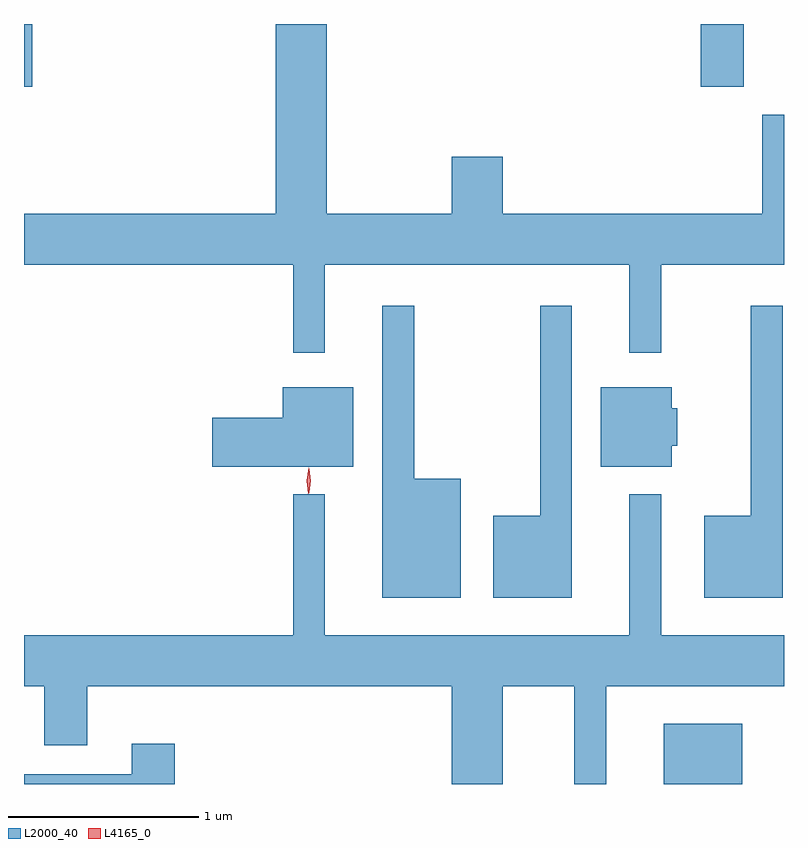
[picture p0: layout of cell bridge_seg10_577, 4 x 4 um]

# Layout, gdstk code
import gdstk
lib = gdstk.Library(unit=1e-6, precision=1e-09)
def R(c, l, rs):  # rectangles x0, y0, x1, y1
    for r in rs: c.add(gdstk.rectangle(r[:2], r[2:], *l))
def P(c, l, *ps):  # polygons
    for p in ps: c.add(gdstk.Polygon(p, *l))
L2000_40 = (2000, 40)
L4165_0 = (4165, 0)

bridge_seg10_577 = lib.new_cell('bridge_seg10_577')
R(bridge_seg10_577, L2000_40, [(775.631,2100.082,776.044,2100.399), (772.265,2103.751,772.309,2104.082), (775.826,2103.751,776.054,2104.082)])
P(bridge_seg10_577, L2000_40, [(773.849,2102.816),(775.451,2102.816),(775.451,2102.353),(775.619,2102.353),(775.619,2102.816),(776.265,2102.816),(776.265,2103.604),(776.151,2103.604),(776.151,2103.084),(774.784,2103.084),(774.784,2103.384),(774.516,2103.384),(774.516,2103.084),(773.859,2103.084),(773.859,2104.082),(773.591,2104.082),(773.591,2103.084),(772.265,2103.084),(772.265,2102.816),(773.681,2102.816),(773.681,2102.353),(773.849,2102.353)],
  [(774.564,2101.689),(774.319,2101.689),(774.319,2102.598),(774.151,2102.598),(774.151,2101.061),(774.564,2101.061)],
  [(775.149,2102.598),(774.981,2102.598),(774.981,2101.494),(774.736,2101.494),(774.736,2101.061),(775.149,2101.061)],
  [(776.259,2102.598),(776.091,2102.598),(776.091,2101.494),(775.846,2101.494),(775.846,2101.061),(776.259,2101.061)],
  [(775.674,2101.861),(775.704,2101.861),(775.704,2102.059),(775.674,2102.059),(775.674,2102.169),(775.301,2102.169),(775.301,2101.751),(775.674,2101.751)],
  [(773.999,2102.169),(773.626,2102.169),(773.626,2102.009),(773.256,2102.009),(773.256,2101.751),(773.999,2101.751)],
  [(772.265,2100.596),(772.371,2100.596),(772.371,2100.286),(772.599,2100.286),(772.599,2100.596),(774.516,2100.596),(774.516,2100.082),(774.784,2100.082),(774.784,2100.596),(775.161,2100.596),(775.161,2100.082),(775.329,2100.082),(775.329,2100.596),(776.265,2100.596),(776.265,2100.864),(775.619,2100.864),(775.619,2101.608),(775.451,2101.608),(775.451,2100.864),(773.849,2100.864),(773.849,2101.608),(773.681,2101.608),(773.681,2100.864),(772.265,2100.864)],
  [(773.059,2100.294),(772.831,2100.294),(772.831,2100.134),(772.265,2100.134),(772.265,2100.082),(773.059,2100.082)])
P(bridge_seg10_577, L4165_0, [(773.764,2101.613),(773.764,2101.614),(773.754,2101.677),(773.764,2101.74),(773.764,2101.74),(773.765,2101.74),(773.774,2101.677),(773.765,2101.614)],
  [(773.761,2101.61),(773.752,2101.678),(773.763,2101.746),(773.763,2101.746),(773.764,2101.746),(773.772,2101.678),(773.762,2101.61),(773.762,2101.61)])

lib.write_gds('bridge_seg10_577.gds')
